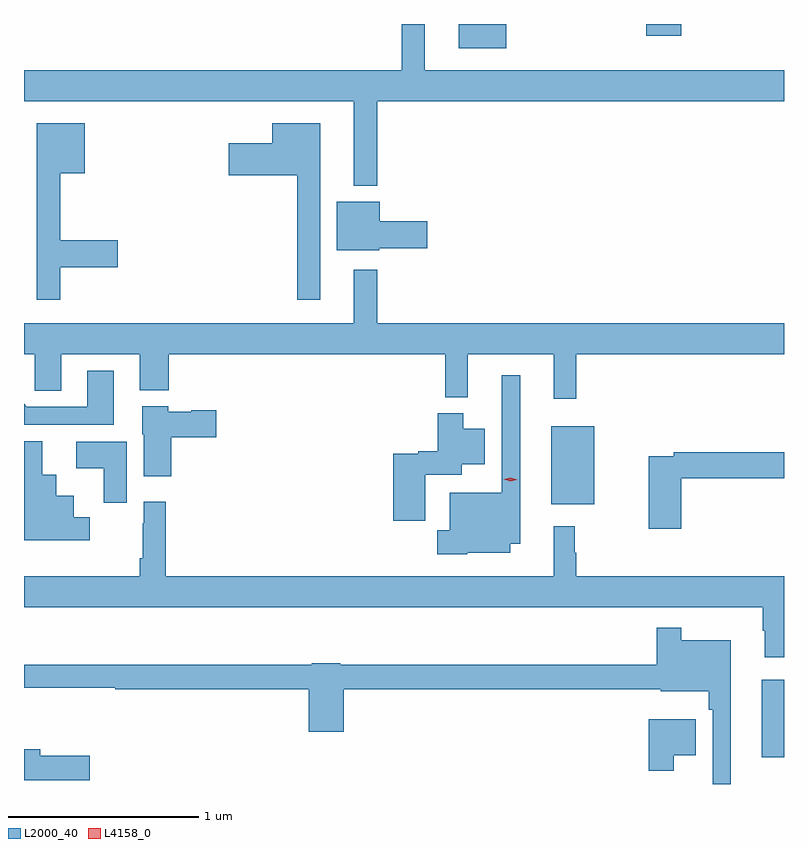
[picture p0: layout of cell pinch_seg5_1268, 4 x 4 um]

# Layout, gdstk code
import gdstk
lib = gdstk.Library(unit=1e-6, precision=1e-09)
def R(c, l, rs):  # rectangles x0, y0, x1, y1
    for r in rs: c.add(gdstk.rectangle(r[:2], r[2:], *l))
def P(c, l, *ps):  # polygons
    for p in ps: c.add(gdstk.Polygon(p, *l))
L2000_40 = (2000, 40)
L4158_0 = (4158, 0)

pinch_seg5_1268 = lib.new_cell('pinch_seg5_1268')
R(pinch_seg5_1268, L2000_40, [(378.617,846.647,378.733,847.057), (377.507,847.979,377.734,848.389), (377.021,850.379,377.272,850.507), (378.008,850.446,378.191,850.507)])
P(pinch_seg5_1268, L2000_40, [(376.591,850.1),(378.733,850.1),(378.733,850.264),(376.843,850.264),(376.843,850.507),(376.722,850.507),(376.722,850.264),(374.733,850.264),(374.733,850.1),(376.469,850.1),(376.469,849.656),(376.591,849.656)],
  [(376.291,849.985),(376.04,849.985),(376.04,849.88),(375.81,849.88),(375.81,849.71),(376.17,849.71),(376.17,849.057),(376.291,849.057)],
  [(374.923,849.226),(375.226,849.226),(375.226,849.368),(374.923,849.368),(374.923,849.722),(375.052,849.722),(375.052,849.985),(374.801,849.985),(374.801,849.057),(374.923,849.057)],
  [(376.602,849.328),(376.855,849.328),(376.855,849.47),(376.606,849.47),(376.606,849.571),(376.379,849.571),(376.379,849.317),(376.602,849.317)],
  [(377.639,848.768),(378.733,848.768),(378.733,848.932),(376.591,848.932),(376.591,849.214),(376.469,849.214),(376.469,848.932),(374.733,848.932),(374.733,848.768),(374.79,848.768),(374.79,848.578),(374.929,848.578),(374.929,848.768),(375.341,848.768),(375.341,848.579),(375.494,848.579),(375.494,848.768),(376.951,848.768),(376.951,848.543),(377.069,848.543),(377.069,848.768),(377.522,848.768),(377.522,848.535),(377.639,848.535)],
  [(375.205,848.683),(375.065,848.683),(375.065,848.493),(374.748,848.493),(374.733,848.508),(374.733,848.397),(375.205,848.397)],
  [(377.067,847.724),(377.293,847.724),(377.293,847.772),(377.344,847.772),(377.344,848.659),(377.247,848.659),(377.247,848.041),(376.973,848.041),(376.973,847.843),(376.908,847.843),(376.908,847.715),(377.067,847.715)],
  [(375.509,848.333),(375.745,848.333),(375.745,848.475),(375.612,848.475),(375.612,848.467),(375.492,848.467),(375.492,848.494),(375.356,848.494),(375.356,848.349),(375.362,848.349),(375.362,848.127),(375.509,848.127)],
  [(376.844,848.135),(377.038,848.135),(377.038,848.189),(377.158,848.189),(377.158,848.377),(377.044,848.377),(377.044,848.458),(376.91,848.458),(376.91,848.258),(376.809,848.258),(376.809,848.245),(376.676,848.245),(376.676,847.893),(376.844,847.893)],
  [(375.079,847.912),(374.995,847.912),(374.995,848.023),(374.902,848.023),(374.902,848.134),(374.828,848.134),(374.828,848.312),(374.733,848.312),(374.733,847.79),(375.079,847.79)],
  [(375.274,848.308),(375.009,848.308),(375.009,848.168),(375.152,848.168),(375.152,847.986),(375.274,847.986)],
  [(378.191,848.116),(378.733,848.116),(378.733,848.252),(378.154,848.252),(378.154,848.232),(378.02,848.232),(378.02,847.851),(378.191,847.851)],
  [(378.733,847.6),(377.639,847.6),(377.639,847.724),(377.632,847.724),(377.632,847.864),(377.521,847.864),(377.521,847.6),(375.479,847.6),(375.479,847.993),(375.363,847.993),(375.363,847.88),(375.358,847.88),(375.358,847.696),(375.343,847.696),(375.343,847.6),(374.733,847.6),(374.733,847.436),(378.621,847.436),(378.621,847.313),(378.632,847.313),(378.632,847.173),(378.733,847.173)],
  [(378.454,847.264),(378.193,847.264),(378.193,847.33),(378.064,847.33),(378.064,847.135),(376.398,847.135),(376.398,847.143),(376.248,847.143),(376.248,847.135),(374.733,847.135),(374.733,847.014),(375.213,847.014),(375.213,847.006),(376.232,847.006),(376.232,846.783),(376.415,846.783),(376.415,847.006),(378.083,847.006),(378.083,846.995),(378.337,846.995),(378.337,846.899),(378.357,846.899),(378.357,846.507),(378.454,846.507)],
  [(378.154,846.659),(378.268,846.659),(378.268,846.847),(378.02,846.847),(378.02,846.578),(378.154,846.578)],
  [(375.079,846.657),(374.818,846.657),(374.818,846.691),(374.733,846.691),(374.733,846.527),(375.079,846.527)])
P(pinch_seg5_1268, L4158_0, [(377.293,848.1),(377.257,848.111),(377.257,848.111),(377.257,848.111),(377.294,848.12),(377.329,848.109),(377.329,848.108),(377.329,848.108)])

lib.write_gds('pinch_seg5_1268.gds')
